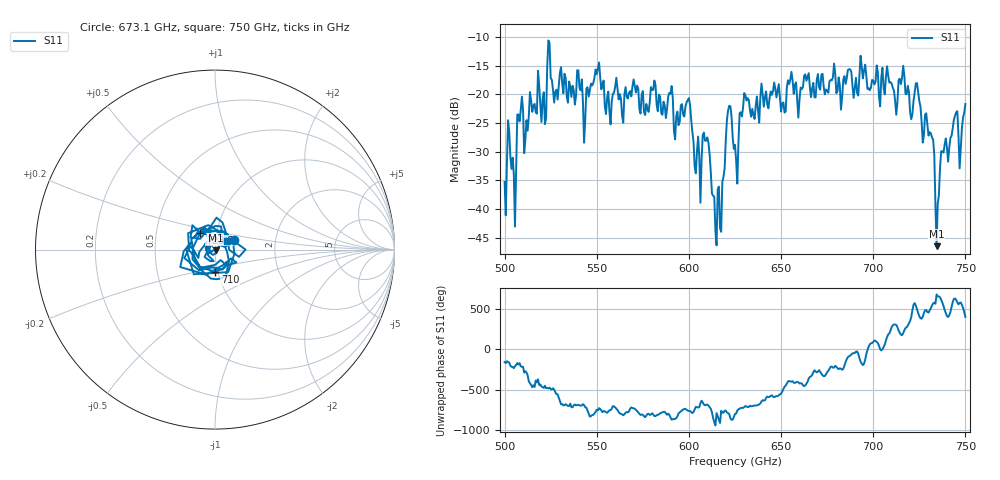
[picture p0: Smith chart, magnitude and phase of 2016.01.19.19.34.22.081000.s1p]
!Created with skrf (http://scikit-rf.org).
# GHz S RI R 50.0
!freq ReS11 ImS11
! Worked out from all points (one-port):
!   401 points, 500 GHz to 750 GHz, reference 50 ohm
!   lowest |S11| = -46.5 dB at 734.4 GHz (marker M1), VSWR 1.01, Z = 50.3 - j0.352 ohm
!   |S11| at or under -10 dB: start of sweep to end of sweep
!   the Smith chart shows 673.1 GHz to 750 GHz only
!   S11 on the Smith chart (normalised r, x): 673.1 GHz: 1.22, +0.13; 710 GHz: 0.97, -0.24; 723.8 GHz: 0.84, +0.16; 750 GHz: 1.13, +0.11
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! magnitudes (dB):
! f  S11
! 500 GHz  -35.3
! 503.1 GHz  -30.9
! 505 GHz  -34.0
! 508.1 GHz  -24.7
! 521.2 GHz  -19.7
! 524.4 GHz  -11.0
! 527.5 GHz  -19.6
! 531.2 GHz  -18.1
! 562.5 GHz  -20.0
! 590 GHz  -19.9
! 593.8 GHz  -23.0
! 599.4 GHz  -21.0
! 605 GHz  -27.4
! 609.4 GHz  -28.1
! 615.6 GHz  -36.5
! 621.9 GHz  -22.0
! 625 GHz  -28.8
! 631.2 GHz  -21.1
! 656.2 GHz  -17.6
! 673.1 GHz  -18.7
! 687.5 GHz  -15.7
! 710 GHz  -18.2
! 718.8 GHz  -18.5
! 723.8 GHz  -18.1
! 731.9 GHz  -27.5
! 734.4 GHz  -46.5
! 738.1 GHz  -30.2
! 750 GHz  -21.7
